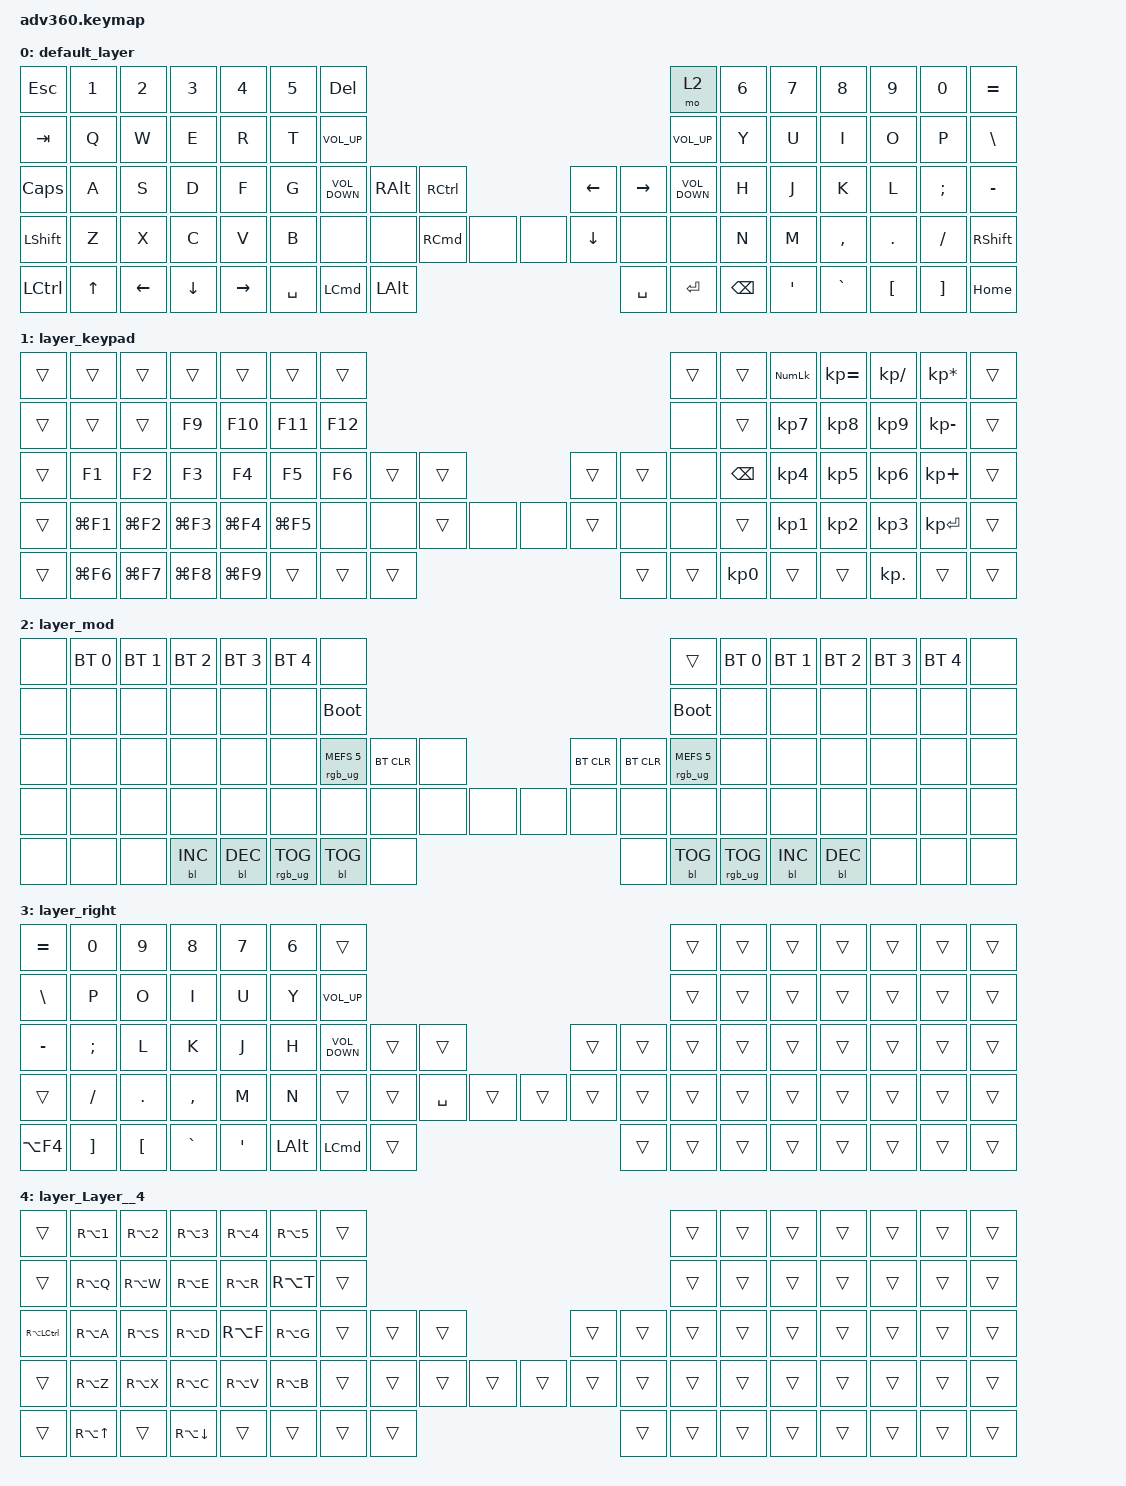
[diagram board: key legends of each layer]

/*
 * Copyright (c) 2020 The ZMK Contributors
 *
 * SPDX-License-Identifier: MIT
 */


/* THIS FILE WAS GENERATED!
 *
 * This file was generated automatically. You may or may not want to
 * edit it directly.
 */

#include <behaviors.dtsi>
#include <dt-bindings/zmk/keys.h>
#include <dt-bindings/zmk/bt.h>
#include <dt-bindings/zmk/rgb.h>
#include <dt-bindings/zmk/backlight.h>

/ {
  behaviors {
    #include "macros.dtsi"
    #include "version.dtsi"

    hm: homerow_mods {
        compatible = "zmk,behavior-hold-tap";
        label = "HOMEROW_MODS";
        #binding-cells = <2>;
        tapping-term-ms = <200>;
        quick_tap_ms = <175>;
        flavor = "tap-preferred";
        bindings = <&kp>, <&kp>;
    };
  };

    keymap {
        compatible = "zmk,keymap";


        default_layer {
            bindings = <
          &kp ESC        &kp N1          &kp N2          &kp N3           &kp N4  &kp N5                   &kp DELETE                                                                                                    &mo 2  &kp N6   &kp N7     &kp N8    &kp N9    &kp N0  &kp EQUAL
          &kp TAB         &kp Q           &kp W           &kp E            &kp R   &kp T              &kp C_VOLUME_UP                                                                                          &kp C_VOLUME_UP   &kp Y    &kp U      &kp I     &kp O     &kp P   &kp BSLH
     &kp CAPSLOCK         &kp A           &kp S           &kp D            &kp F   &kp G            &kp C_VOLUME_DOWN     &kp RIGHT_ALT  &kp RIGHT_CONTROL                  &kp LEFT_ARROW  &kp RIGHT_ARROW  &kp C_VOLUME_DOWN   &kp H    &kp J      &kp K     &kp L  &kp SEMI  &kp MINUS
        &kp LSHFT         &kp Z           &kp X           &kp C            &kp V   &kp B                        &none             &none  &kp RIGHT_COMMAND   &none   &none  &kp DOWN_ARROW            &none              &none   &kp N    &kp M  &kp COMMA   &kp DOT  &kp FSLH  &kp RSHFT
 &kp LEFT_CONTROL  &kp UP_ARROW  &kp LEFT_ARROW  &kp DOWN_ARROW  &kp RIGHT_ARROW                            &kp SPACE  &kp LEFT_COMMAND       &kp LEFT_ALT                       &kp SPACE       &kp RETURN      &kp BACKSPACE          &kp SQT  &kp GRAVE  &kp LBKT  &kp RBKT   &kp HOME
            >;
        };

        layer_keypad {
            bindings = <
 &trans      &trans      &trans      &trans      &trans      &trans             &trans                                                           &trans         &trans  &kp KP_NUM  &kp KP_EQUAL  &kp KP_DIVIDE  &kp KP_MULTIPLY  &trans
 &trans      &trans      &trans      &kp F9     &kp F10     &kp F11            &kp F12                                                            &none         &trans   &kp KP_N7     &kp KP_N8      &kp KP_N9     &kp KP_MINUS  &trans
 &trans      &kp F1      &kp F2      &kp F3      &kp F4      &kp F5             &kp F6  &trans  &trans                  &trans  &trans            &none  &kp BACKSPACE   &kp KP_N4     &kp KP_N5      &kp KP_N6      &kp KP_PLUS  &trans
 &trans  &kp LG(F1)  &kp LG(F2)  &kp LG(F3)  &kp LG(F4)  &kp LG(F5)              &none   &none  &trans   &none   &none  &trans   &none            &none         &trans   &kp KP_N1     &kp KP_N2      &kp KP_N3     &kp KP_ENTER  &trans
 &trans  &kp LG(F6)  &kp LG(F7)  &kp LG(F8)  &kp LG(F9)                         &trans  &trans  &trans                  &trans  &trans  &kp KP_NUMBER_0                     &trans        &trans     &kp KP_DOT           &trans  &trans
            >;
        };

        layer_mod {
            bindings = <
  &none  &bt BT_SEL 0  &bt BT_SEL 1  &bt BT_SEL 2  &bt BT_SEL 3  &bt BT_SEL 4                             &none                                                                              &trans  &bt BT_SEL 0  &bt BT_SEL 1  &bt BT_SEL 2  &bt BT_SEL 3  &bt BT_SEL 4   &none
  &none         &none         &none         &none         &none         &none                       &bootloader                                                                         &bootloader         &none         &none         &none         &none         &none   &none
  &none         &none         &none         &none         &none         &none            &rgb_ug RGB_MEFS_CMD 5  &bt BT_CLR   &none                  &bt BT_CLR  &bt BT_CLR  &rgb_ug RGB_MEFS_CMD 5         &none         &none         &none         &none         &none   &none
  &none         &none         &none         &none         &none         &none                             &none       &none   &none   &none   &none       &none       &none                   &none         &none         &none         &none         &none         &none   &none
  &none         &none         &none    &bl BL_INC    &bl BL_DEC                                 &rgb_ug RGB_TOG  &bl BL_TOG   &none                       &none  &bl BL_TOG         &rgb_ug RGB_TOG                  &bl BL_INC    &bl BL_DEC         &none         &none   &none
            >;
        };

        layer_right {
            bindings = <
     &kp EQUAL     &kp N0    &kp N9     &kp N8   &kp N7  &kp N6                       &trans                                                               &trans  &trans  &trans  &trans  &trans  &trans  &trans
 &kp BACKSLASH      &kp P     &kp O      &kp I    &kp U   &kp Y              &kp C_VOLUME_UP                                                               &trans  &trans  &trans  &trans  &trans  &trans  &trans
     &kp MINUS   &kp SEMI     &kp L      &kp K    &kp J   &kp H            &kp C_VOLUME_DOWN            &trans     &trans                  &trans  &trans  &trans  &trans  &trans  &trans  &trans  &trans  &trans
        &trans  &kp SLASH   &kp DOT  &kp COMMA    &kp M   &kp N                       &trans            &trans  &kp SPACE  &trans  &trans  &trans  &trans  &trans  &trans  &trans  &trans  &trans  &trans  &trans
    &kp LA(F4)   &kp RBKT  &kp LBKT  &kp GRAVE  &kp SQT                         &kp LEFT_ALT  &kp LEFT_COMMAND     &trans                  &trans  &trans  &trans          &trans  &trans  &trans  &trans  &trans
            >;
        };

        layer_Layer__4 {
            bindings = <
               &trans  &kp RA(NUMBER_1)  &kp RA(NUMBER_2)    &kp RA(NUMBER_3)  &kp RA(NUMBER_4)  &kp RA(NUMBER_5)            &trans                                                  &trans  &trans  &trans  &trans  &trans  &trans  &trans
               &trans         &kp RA(Q)         &kp RA(W)           &kp RA(E)         &kp RA(R)         &kp RA(T)            &trans                                                  &trans  &trans  &trans  &trans  &trans  &trans  &trans
 &kp RA(LEFT_CONTROL)         &kp RA(A)         &kp RA(S)           &kp RA(D)         &kp RA(F)         &kp RA(G)            &trans  &trans  &trans                  &trans  &trans  &trans  &trans  &trans  &trans  &trans  &trans  &trans
               &trans         &kp RA(Z)         &kp RA(X)           &kp RA(C)         &kp RA(V)         &kp RA(B)            &trans  &trans  &trans  &trans  &trans  &trans  &trans  &trans  &trans  &trans  &trans  &trans  &trans  &trans
               &trans  &kp RA(UP_ARROW)            &trans  &kp RA(DOWN_ARROW)            &trans                              &trans  &trans  &trans                  &trans  &trans  &trans          &trans  &trans  &trans  &trans  &trans
            >;
        };

    };
};
